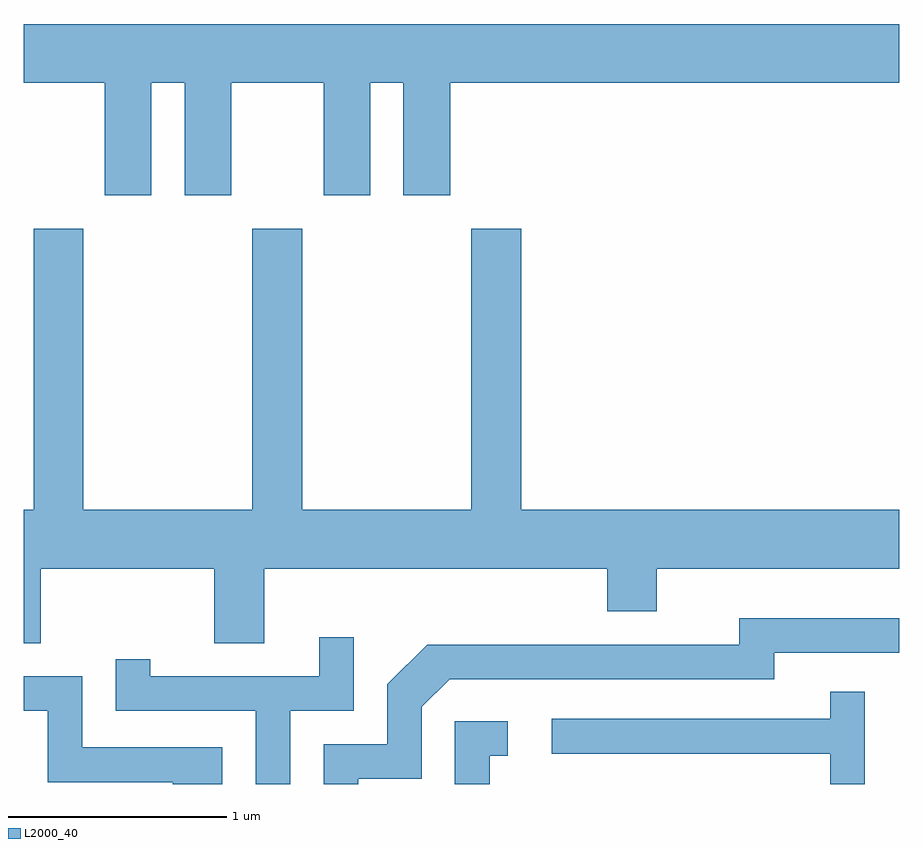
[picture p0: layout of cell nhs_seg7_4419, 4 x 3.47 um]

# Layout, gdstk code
import gdstk
lib = gdstk.Library(unit=1e-6, precision=1e-09)
def P(c, l, *ps):  # polygons
    for p in ps: c.add(gdstk.Polygon(p, *l))
L2000_40 = (2000, 40)

nhs_seg7_4419 = lib.new_cell('nhs_seg7_4419')
P(nhs_seg7_4419, L2000_40, [(322.194,1685.456),(322.346,1685.456),(322.346,1684.941),(322.559,1684.941),(322.559,1685.456),(322.981,1685.456),(322.981,1684.941),(323.194,1684.941),(323.194,1685.456),(323.346,1685.456),(323.346,1684.941),(323.559,1684.941),(323.559,1685.456),(325.611,1685.456),(325.611,1685.724),(321.611,1685.724),(321.611,1685.456),(321.981,1685.456),(321.981,1684.941),(322.194,1684.941)],
  [(321.689,1683.236),(322.481,1683.236),(322.481,1682.896),(322.709,1682.896),(322.709,1683.236),(324.276,1683.236),(324.276,1683.041),(324.504,1683.041),(324.504,1683.236),(325.611,1683.236),(325.611,1683.504),(323.884,1683.504),(323.884,1684.789),(323.656,1684.789),(323.656,1683.504),(322.884,1683.504),(322.884,1684.789),(322.656,1684.789),(322.656,1683.504),(321.884,1683.504),(321.884,1684.789),(321.656,1684.789),(321.656,1683.504),(321.611,1683.504),(321.611,1682.896),(321.689,1682.896)],
  [(323.139,1682.276),(323.429,1682.276),(323.429,1682.604),(323.557,1682.731),(325.039,1682.731),(325.039,1682.851),(325.611,1682.851),(325.611,1683.009),(324.881,1683.009),(324.881,1682.889),(323.454,1682.889),(323.271,1682.707),(323.271,1682.434),(322.981,1682.434),(322.981,1682.252),(323.139,1682.252)],
  [(322.829,1682.586),(323.119,1682.586),(323.119,1682.923),(322.961,1682.923),(322.961,1682.744),(322.189,1682.744),(322.189,1682.823),(322.031,1682.823),(322.031,1682.586),(322.671,1682.586),(322.671,1682.252),(322.829,1682.252)],
  [(322.519,1682.419),(321.879,1682.419),(321.879,1682.744),(321.611,1682.744),(321.611,1682.586),(321.721,1682.586),(321.721,1682.261),(322.291,1682.261),(322.291,1682.252),(322.519,1682.252)],
  [(325.454,1682.673),(325.296,1682.673),(325.296,1682.549),(324.023,1682.549),(324.023,1682.391),(325.296,1682.391),(325.296,1682.252),(325.454,1682.252)],
  [(323.739,1682.381),(323.823,1682.381),(323.823,1682.539),(323.581,1682.539),(323.581,1682.252),(323.739,1682.252)])

lib.write_gds('nhs_seg7_4419.gds')
